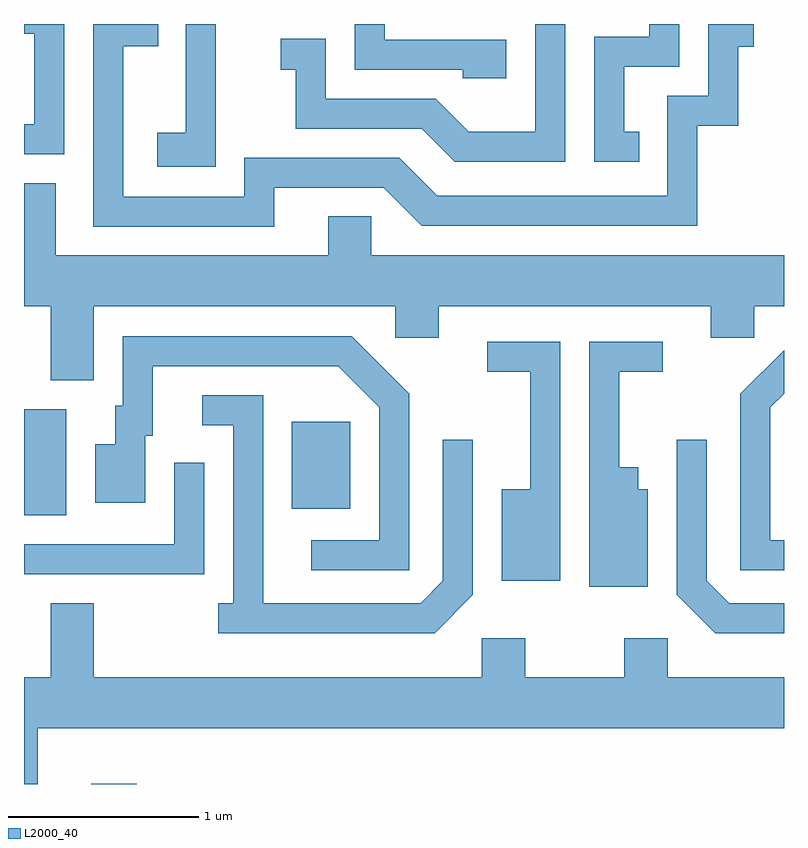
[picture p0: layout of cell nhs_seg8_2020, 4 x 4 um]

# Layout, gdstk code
import gdstk
lib = gdstk.Library(unit=1e-6, precision=1e-09)
def R(c, l, rs):  # rectangles x0, y0, x1, y1
    for r in rs: c.add(gdstk.rectangle(r[:2], r[2:], *l))
def P(c, l, *ps):  # polygons
    for p in ps: c.add(gdstk.Polygon(p, *l))
L2000_40 = (2000, 40)

nhs_seg8_2020 = lib.new_cell('nhs_seg8_2020')
R(nhs_seg8_2020, L2000_40, [(245.966,1838.342,246.204,1838.344), (245.611,1839.756,245.834,1840.314), (247.021,1839.791,247.329,1840.249)])
P(nhs_seg8_2020, L2000_40, [(248.149,1842.259),(247.509,1842.259),(247.509,1842.342),(247.351,1842.342),(247.351,1842.101),(247.921,1842.101),(247.921,1842.056),(248.149,1842.056)],
  [(246.619,1842.342),(246.461,1842.342),(246.461,1841.769),(246.311,1841.769),(246.311,1841.591),(246.619,1841.591)],
  [(248.459,1842.342),(248.301,1842.342),(248.301,1841.774),(247.952,1841.774),(247.777,1841.949),(247.199,1841.949),(247.199,1842.264),(246.963,1842.264),(246.963,1842.101),(247.041,1842.101),(247.041,1841.791),(247.704,1841.791),(247.879,1841.616),(248.459,1841.616)],
  [(246.929,1841.481),(247.504,1841.481),(247.704,1841.281),(249.154,1841.281),(249.154,1841.806),(249.369,1841.806),(249.369,1842.221),(249.453,1842.221),(249.453,1842.342),(249.211,1842.342),(249.211,1841.964),(248.996,1841.964),(248.996,1841.439),(247.787,1841.439),(247.587,1841.639),(246.771,1841.639),(246.771,1841.434),(246.134,1841.434),(246.134,1842.226),(246.318,1842.226),(246.318,1842.342),(245.976,1842.342),(245.976,1841.276),(246.929,1841.276)],
  [(248.848,1841.774),(248.769,1841.774),(248.769,1842.116),(249.059,1842.116),(249.059,1842.342),(248.901,1842.342),(248.901,1842.274),(248.611,1842.274),(248.611,1841.616),(248.848,1841.616)],
  [(245.824,1842.342),(245.611,1842.342),(245.611,1842.291),(245.666,1842.291),(245.666,1841.814),(245.611,1841.814),(245.611,1841.656),(245.824,1841.656)],
  [(245.979,1840.856),(247.566,1840.856),(247.566,1840.691),(247.794,1840.691),(247.794,1840.856),(249.226,1840.856),(249.226,1840.691),(249.454,1840.691),(249.454,1840.856),(249.611,1840.856),(249.611,1841.124),(247.439,1841.124),(247.439,1841.329),(247.211,1841.329),(247.211,1841.124),(245.779,1841.124),(245.779,1841.504),(245.611,1841.504),(245.611,1840.856),(245.751,1840.856),(245.751,1840.466),(245.979,1840.466)],
  [(247.639,1840.397),(247.337,1840.699),(246.131,1840.699),(246.131,1840.334),(246.091,1840.334),(246.091,1840.129),(245.986,1840.129),(245.986,1839.821),(246.249,1839.821),(246.249,1840.176),(246.289,1840.176),(246.289,1840.541),(247.264,1840.541),(247.481,1840.324),(247.481,1839.624),(247.123,1839.624),(247.123,1839.466),(247.639,1839.466)],
  [(248.894,1839.894),(248.844,1839.894),(248.844,1840.009),(248.744,1840.009),(248.744,1840.511),(248.973,1840.511),(248.973,1840.669),(248.586,1840.669),(248.586,1839.381),(248.894,1839.381)],
  [(248.434,1840.669),(248.048,1840.669),(248.048,1840.511),(248.276,1840.511),(248.276,1839.894),(248.126,1839.894),(248.126,1839.411),(248.434,1839.411)],
  [(249.611,1839.624),(249.539,1839.624),(249.539,1840.324),(249.611,1840.396),(249.611,1840.626),(249.381,1840.397),(249.381,1839.466),(249.611,1839.466)],
  [(247.974,1839.339),(247.974,1840.153),(247.816,1840.153),(247.816,1839.412),(247.699,1839.294),(246.869,1839.294),(246.869,1840.389),(246.548,1840.389),(246.548,1840.231),(246.711,1840.231),(246.711,1839.294),(246.633,1839.294),(246.633,1839.136),(247.772,1839.136)],
  [(249.611,1839.294),(249.322,1839.294),(249.204,1839.412),(249.204,1840.153),(249.046,1840.153),(249.046,1839.339),(249.249,1839.136),(249.611,1839.136)],
  [(246.559,1840.033),(246.401,1840.033),(246.401,1839.604),(245.611,1839.604),(245.611,1839.446),(246.559,1839.446)],
  [(245.684,1838.636),(249.611,1838.636),(249.611,1838.904),(248.999,1838.904),(248.999,1839.109),(248.771,1839.109),(248.771,1838.904),(248.249,1838.904),(248.249,1839.109),(248.021,1839.109),(248.021,1838.904),(245.979,1838.904),(245.979,1839.294),(245.751,1839.294),(245.751,1838.904),(245.611,1838.904),(245.611,1838.342),(245.684,1838.342)])

lib.write_gds('nhs_seg8_2020.gds')
